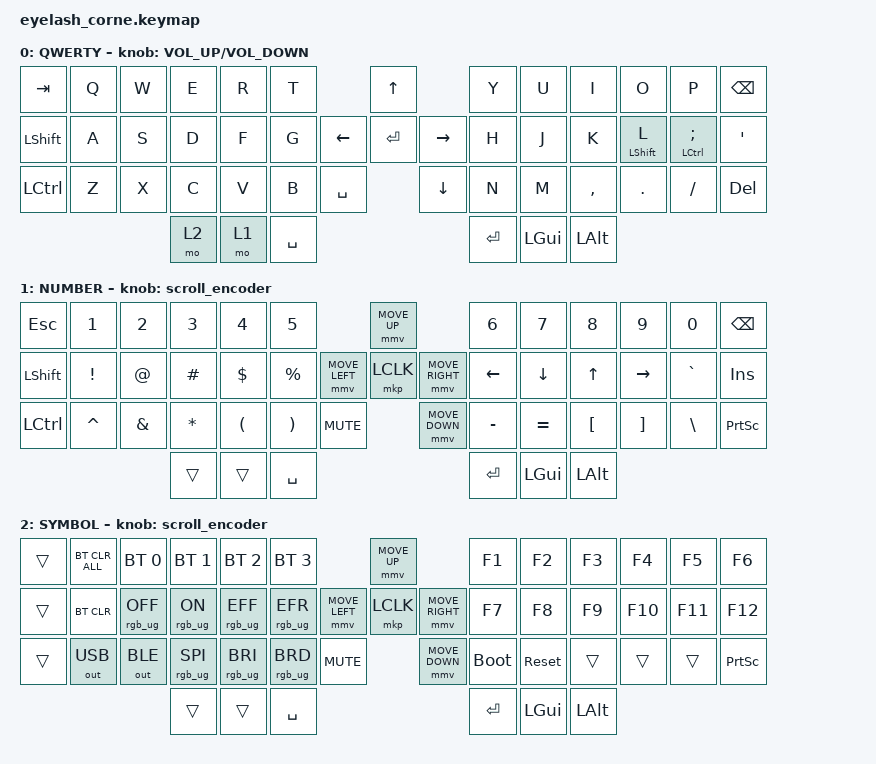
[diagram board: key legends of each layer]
#define ZMK_POINTING_DEFAULT_MOVE_VAL 1200  // 600
#define ZMK_POINTING_DEFAULT_SCRL_VAL 25   // 10

#include <input/processors.dtsi>
#include <zephyr/dt-bindings/input/input-event-codes.h>
#include <behaviors.dtsi>
#include <dt-bindings/zmk/bt.h>
#include <dt-bindings/zmk/keys.h>
#include <dt-bindings/zmk/outputs.h>
#include <dt-bindings/zmk/pointing.h>
#include <dt-bindings/zmk/rgb.h>

&mmv_input_listener { input-processors = <&zip_xy_scaler 2 1>; };

&msc_input_listener { input-processors = <&zip_scroll_scaler 2 1>; };

&msc {
    acceleration-exponent = <1>;      // 0
    time-to-max-speed-ms = <100>;       // 300
    delay-ms = <0>;                   // 0
};

&mmv {
    time-to-max-speed-ms = <500>;
    acceleration-exponent = <1>;
    trigger-period-ms = <16>;
};

&soft_off { hold-time-ms = <2000>; };

/ {
    behaviors {
        td0: td0 {
            compatible = "zmk,behavior-tap-dance";
            display-name = "Shift/Caps Lock Tap Dance";
            #binding-cells = <0>;
            bindings = <&kp LEFT_SHIFT>, <&kp CAPS>;
        };
        l_mt: l_mod_tap {
            compatible = "zmk,behavior-hold-tap";
            #binding-cells = <2>;
            flavor = "tap-preferred";
            tapping-term-ms = <280>;
            quick-tap-ms = <280>; // This enables the double-tap-to-repeat
            require-prior-idle-ms = <280>;
            bindings = <&kp>, <&kp>;
        };
    };

    rgb_encoder: rgb_encoder {
        compatible = "zmk,behavior-sensor-rotate";
        #sensor-binding-cells = <0>;
        bindings = <&rgb_ug RGB_BRI>, <&rgb_ug RGB_BRD>;
    };

    scroll_encoder: scroll_encoder {
        compatible = "zmk,behavior-sensor-rotate";
        #sensor-binding-cells = <0>;
        bindings = <&msc SCRL_DOWN>, <&msc SCRL_UP>;

        tap-ms = <100>;
    };

    combos {
        compatible = "zmk,combos";

        softoff {
            bindings = <&soft_off>;
            key-positions = <1 15 29>;
        };
    };

    keymap {
        compatible = "zmk,keymap";

        default_layer {
            display-name = "QWERTY";
            bindings = <
&kp TAB    &kp Q  &kp W  &kp E     &kp R  &kp T                               &kp UP                &kp Y        &kp U  &kp I      &kp O    &kp P     &kp BSPC
&kp LEFT_SHIFT    &kp A  &kp S  &kp D     &kp F  &kp G                     &kp LEFT  &kp ENTER  &kp RIGHT  &kp H        &kp J  &kp K      &l_mt LEFT_SHIFT L    &l_mt LCTRL SEMI  &kp SQT
&kp LCTRL  &kp Z  &kp X  &kp C     &kp V  &kp B        &kp SPACE              &kp DOWN              &kp N        &kp M  &kp COMMA  &kp DOT  &kp FSLH  &kp DEL 
                         &mo 2  &mo 1  &kp SPACE                                               &kp RET  &kp LGUI  &kp LALT
            >;


            sensor-bindings = <&inc_dec_kp C_VOLUME_UP C_VOLUME_DOWN>;
        };

        lower_layer {
            display-name = "NUMBER";
            bindings = <
&kp ESC         &kp N1     &kp N2     &kp N3        &kp N4        &kp N5                                      &mmv MOVE_UP                     &kp N6           &kp N7           &kp N8           &kp N9           &kp N0      &kp BSPC 
&kp LEFT_SHIFT  &kp EXCL    &kp AT     &kp HASH      &kp DLLR      &kp PRCNT                   &mmv MOVE_LEFT  &mkp LCLK       &mmv MOVE_RIGHT  &kp LEFT         &kp DOWN         &kp UP           &kp RIGHT        &kp GRAVE   &kp INS
&kp LCTRL       &kp CARET  &kp AMPS   &kp ASTRK     &kp LPAR      &kp RPAR       &kp C_MUTE                   &mmv MOVE_DOWN                   &kp MINUS        &kp EQUAL        &kp LBKT         &kp RBKT         &kp BSLH   &kp PRINTSCREEN 
                                         &trans        &trans        &kp SPACE                                                                          &kp RET          &kp LGUI          &kp LALT
            >;

            sensor-bindings = <&scroll_encoder>;
        };

        raise_layer {
            display-name = "SYMBOL";
            bindings = <
&trans  &bt BT_CLR_ALL   &bt BT_SEL 0     &bt BT_SEL 1     &bt BT_SEL 2     &bt BT_SEL 3                                &mmv MOVE_UP                     &kp F1       &kp F2       &kp F3           &kp F4       &kp F5   &kp F6
&trans  &bt BT_CLR       &rgb_ug RGB_OFF  &rgb_ug RGB_ON   &rgb_ug RGB_EFF  &rgb_ug RGB_EFR             &mmv MOVE_LEFT  &mkp LCLK       &mmv MOVE_RIGHT  &kp F7       &kp F8       &kp F9           &kp F10      &kp F11  &kp F12
&trans  &out OUT_USB     &out OUT_BLE     &rgb_ug RGB_SPI  &rgb_ug RGB_BRI  &rgb_ug RGB_BRD  &kp C_MUTE                 &mmv MOVE_DOWN                   &bootloader  &sys_reset   &trans           &trans       &trans   &kp PRINTSCREEN
                                         &trans        &trans        &kp SPACE                                                                          &kp RET          &kp LGUI          &kp LALT
            >;            sensor-bindings = <&scroll_encoder>;
        };

    };
};
